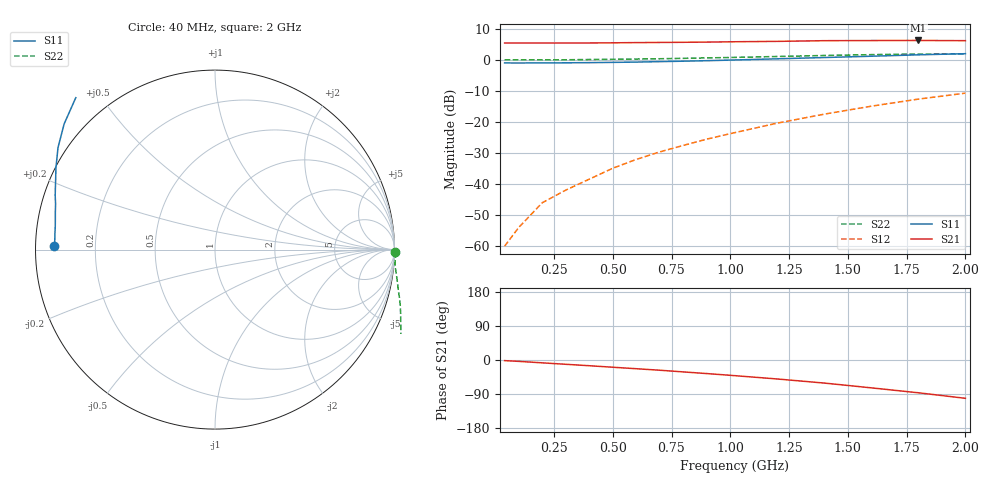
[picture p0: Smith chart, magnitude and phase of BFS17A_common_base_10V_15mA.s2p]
! Filename:  BFS17ACI.S2P  Version:  2.0
! Philips part #: BFS17A  Date: Jul 1990
! Bias condition: Vce=10V, Ic=15mA
! COMMON BASE
#  MHz  S  MA  R  50
! Freq  S11  S21  S12  S22
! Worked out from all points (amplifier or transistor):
!   16 points, 40 MHz to 2 GHz, reference 50 ohm
!   highest |S21| = 6.3 dB at 1.8 GHz (marker M1)
!   |S21| within 3 dB of that: start of sweep to end of sweep
!   unconditionally stable (mu >= 1): nowhere
!   at 200 MHz: K = -0.55, MSG = 25.7 dB, |S12| = -46.0 dB
!   at 800 MHz: K = -0.88, MSG = 16.6 dB, |S12| = -27.5 dB
!   at 2 GHz: K = -0.63, MSG = 8.5 dB, |S12| = -10.7 dB
40  0.895 178.8  1.874 -1.7  0.001 76.8  1.004 -0.8
100  0.894 177.2  1.873 -3.6  0.002 89.9  1.007 -1.5
200  0.896 174.5  1.872 -7.5  0.005 116.5  1.006 -3.5
300  0.899 171.9  1.872 -11.3  0.008 126.7  1.007 -5.2
400  0.905 169.4  1.879 -15.1  0.012 132.7  1.016 -7.0
500  0.914 166.7  1.888 -19.1  0.018 136.5  1.025 -8.8
600  0.924 164.0  1.903 -23.0  0.025 139.4  1.035 -10.6
700  0.94 161.3  1.914 -27.0  0.033 141.2  1.046 -12.5
800  0.955 158.6  1.926 -31.4  0.042 142.4  1.062 -14.6
900  0.973 155.8  1.939 -35.8  0.053 142.8  1.079 -16.9
1000  0.995 153.0  1.961 -40.4  0.065 143.0  1.096 -19.3
1200  1.043 147.0  1.993 -50.1  0.096 141.6  1.137 -24.4
1400  1.094 140.2  2.043 -60.9  0.134 138.4  1.18 -30.4
1600  1.148 132.5  2.054 -73.5  0.18 134.3  1.218 -37.4
1800  1.21 124.2  2.061 -86.5  0.234 128.3  1.245 -45.5
2000  1.261 115.5  2.044 -101.1  0.292 121.4  1.251 -55.1
